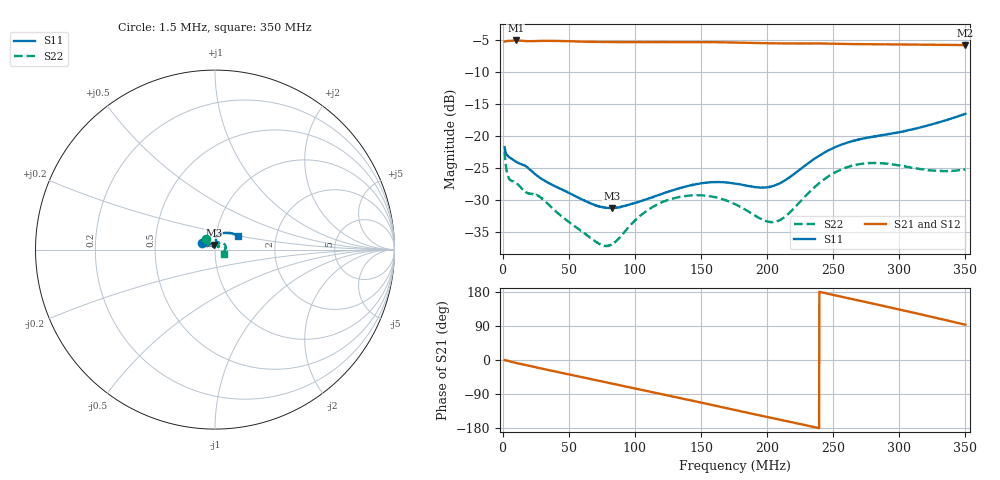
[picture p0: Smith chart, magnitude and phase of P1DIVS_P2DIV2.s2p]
# Hz S RI R 50
! RAW DATA - UNCALIBRATED
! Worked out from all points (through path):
!   1601 points, 1.5 MHz to 350 MHz, reference 50 ohm
!   highest |S21| = -5.00 dB at 9.995 MHz (marker M1); lowest = -5.7 dB at 350 MHz (marker M2)
!   group delay of S21, straight-line fit = 2.1 ns
!   lowest |S11| = -31.2 dB at 82.53 MHz (marker M3), VSWR 1.06, Z = 49.2 + j2.61 ohm
!   |S11| at or under -10 dB: start of sweep to end of sweep
!   |S22| runs from -37.2 to -22.4 dB; largest |S21 - S12| = 0.026
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1500000  -0.073 0.038  0.5508 -0.00214  0.5509 -0.00916  -0.0504 0.0572
4767188  -0.0652 0.0225  0.5565 -0.0301  0.5565 -0.0338  -0.0391 0.0258
9994688  -0.0581 0.0253  0.5571 -0.075  0.5489 -0.0724  -0.0353 0.0254
1.783594e7  -0.0488 0.0314  0.5402 -0.13  0.5405 -0.1297  -0.0251 0.0263
2.916219e7  -0.0332 0.0328  0.5159 -0.2115  0.5093 -0.2076  -0.0145 0.0297
5.965594e7  -0.0135 0.0292  0.3887 -0.3891  0.3911 -0.3872  -0.00169 0.018
7.403156e7  -0.00864 0.0268  0.3076 -0.4529  0.3082 -0.4492  -0.00294 0.0139
8.252625e7  -0.00723 0.0265  0.2556 -0.4837  0.2566 -0.4776  -0.00583 0.0131
1.027828e8  -0.00315 0.0306  0.1207 -0.532  0.127 -0.5259  -0.0111 0.0205
1.178119e8  0.00211 0.0347  0.0146 -0.5453  0.0236 -0.5404  -0.00727 0.0287
1.474344e8  0.015 0.0397  -0.1901 -0.5113  -0.1772 -0.5125  0.0123 0.0324
1.7575e8  0.0218 0.0367  -0.362 -0.4024  -0.3502 -0.4099  0.0225 0.0191
1.970956e8  0.0158 0.0366  -0.4547 -0.2831  -0.4455 -0.2945  0.0173 0.0138
2.060259e8  0.0113 0.0398  -0.4829 -0.2274  -0.4744 -0.2409  0.0144 0.0159
2.149562e8  0.00735 0.0457  -0.505 -0.1699  -0.4987 -0.1847  0.0129 0.0205
2.339059e8  0.00538 0.0645  -0.5306 -0.0395  -0.5297 -0.0573  0.0187 0.0334
2.467569e8  0.0113 0.077  -0.5288 0.052  -0.5309 0.035  0.0297 0.0389
2.609147e8  0.0229 0.0865  -0.506 0.1506  -0.5109 0.1353  0.0438 0.0371
2.750725e8  0.0349 0.0908  -0.4665 0.2418  -0.4733 0.226  0.0546 0.0284
2.920619e8  0.0487 0.0922  -0.3983 0.3409  -0.4095 0.3238  0.0593 0.0138
3.225556e8  0.0798 0.0931  -0.2233 0.4704  -0.2435 0.4608  0.0541 -0.00588
3.5e8  0.1281 0.0781  -0.0274 0.5158  -0.0522 0.5164  0.0501 -0.0232
